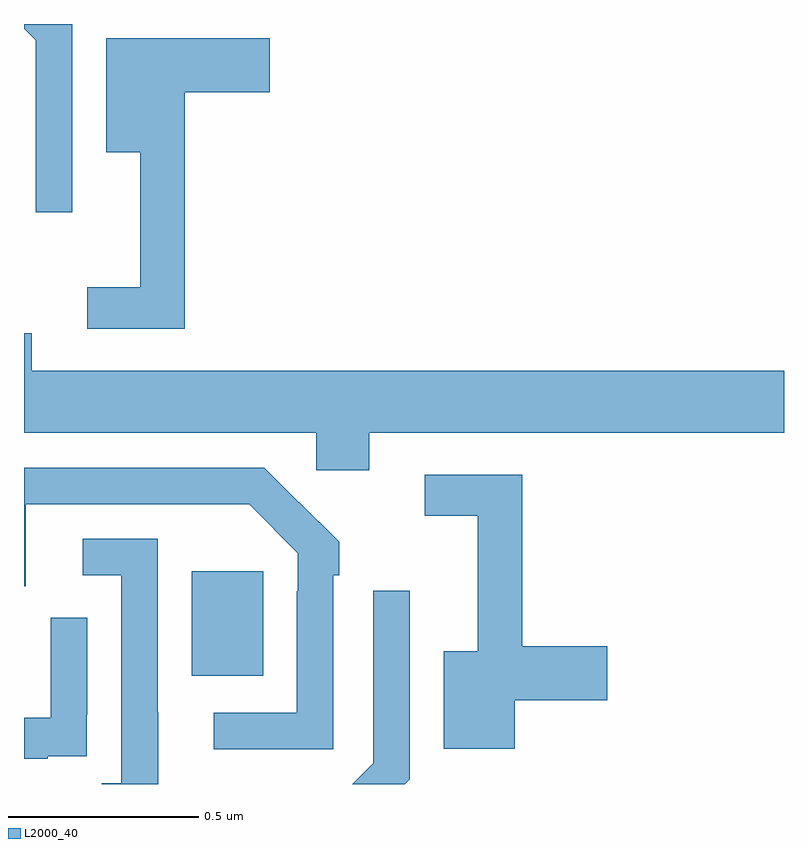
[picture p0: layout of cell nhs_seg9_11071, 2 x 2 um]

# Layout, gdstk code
import gdstk
lib = gdstk.Library(unit=1e-6, precision=1e-09)
def R(c, l, rs):  # rectangles x0, y0, x1, y1
    for r in rs: c.add(gdstk.rectangle(r[:2], r[2:], *l))
def P(c, l, *ps):  # polygons
    for p in ps: c.add(gdstk.Polygon(p, *l))
L2000_40 = (2000, 40)

nhs_seg9_11071 = lib.new_cell('nhs_seg9_11071')
R(nhs_seg9_11071, L2000_40, [(251.441,1191.785,251.629,1192.06)])
P(nhs_seg9_11071, L2000_40, [(251.127,1193.499),(251.126,1193.5),(251,1193.5),(251,1193.488),(251.031,1193.457),(251.031,1193.004),(251.127,1193.004)],
  [(251.423,1193.321),(251.647,1193.321),(251.647,1193.463),(251.216,1193.463),(251.216,1193.162),(251.306,1193.162),(251.306,1192.807),(251.166,1192.807),(251.166,1192.698),(251.423,1192.698)],
  [(251.908,1192.424),(253,1192.424),(253,1192.588),(251.02,1192.588),(251.02,1192.686),(251,1192.686),(251,1192.424),(251.769,1192.424),(251.769,1192.326),(251.908,1192.326)],
  [(251.814,1192.049),(251.829,1192.049),(251.829,1192.137),(251.724,1192.242),(251.723,1192.241),(251.632,1192.332),(251,1192.332),(251,1192.02),(251.005,1192.02),(251.005,1192.236),(251.593,1192.236),(251.721,1192.107),(251.721,1192.007),(251.718,1192.007),(251.718,1191.687),(251.499,1191.687),(251.499,1191.591),(251.814,1191.591)],
  [(252.292,1191.721),(252.535,1191.721),(252.535,1191.863),(252.311,1191.863),(252.311,1192.314),(252.054,1192.314),(252.054,1192.206),(252.194,1192.206),(252.194,1191.85),(252.104,1191.85),(252.104,1191.593),(252.292,1191.593)],
  [(251.353,1191.689),(251.352,1191.689),(251.352,1192.146),(251.154,1192.146),(251.154,1192.05),(251.256,1192.05),(251.256,1191.502),(251.205,1191.502),(251.205,1191.5),(251.353,1191.5)],
  [(252.015,1191.513),(252.015,1192.009),(251.919,1192.009),(251.919,1191.555),(251.864,1191.5),(252.002,1191.5)],
  [(251.063,1191.573),(251.165,1191.573),(251.165,1191.682),(251.166,1191.682),(251.166,1191.937),(251.07,1191.937),(251.07,1191.675),(251,1191.675),(251,1191.567),(251.063,1191.567)])

lib.write_gds('nhs_seg9_11071.gds')
